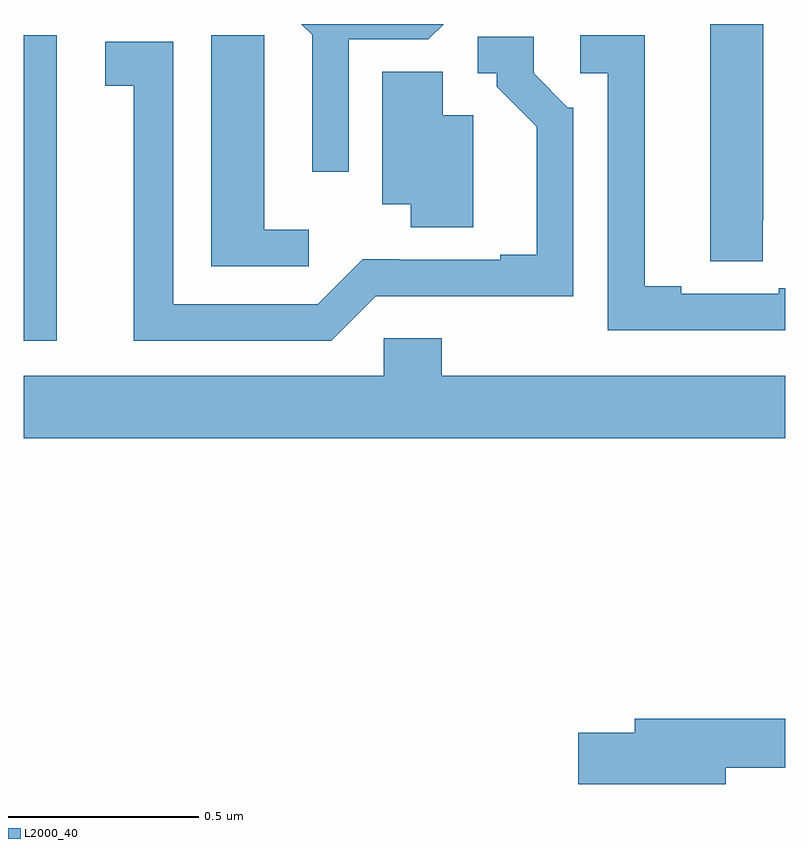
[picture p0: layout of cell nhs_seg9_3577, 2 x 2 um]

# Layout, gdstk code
import gdstk
lib = gdstk.Library(unit=1e-6, precision=1e-09)
def R(c, l, rs):  # rectangles x0, y0, x1, y1
    for r in rs: c.add(gdstk.rectangle(r[:2], r[2:], *l))
def P(c, l, *ps):  # polygons
    for p in ps: c.add(gdstk.Polygon(p, *l))
L2000_40 = (2000, 40)

nhs_seg9_3577 = lib.new_cell('nhs_seg9_3577')
R(nhs_seg9_3577, L2000_40, [(155,1204.668,155.086,1205.47)])
P(nhs_seg9_3577, L2000_40, [(155.853,1205.46),(156.063,1205.46),(156.103,1205.5),(155.729,1205.5),(155.757,1205.472),(155.757,1205.112),(155.853,1205.112)],
  [(156.942,1204.984),(156.943,1204.984),(156.943,1205.5),(156.803,1205.5),(156.803,1204.876),(156.942,1204.876)],
  [(157,1204.806),(156.983,1204.806),(156.983,1204.791),(156.727,1204.791),(156.727,1204.811),(156.631,1204.811),(156.631,1205.471),(156.462,1205.471),(156.462,1205.37),(156.534,1205.37),(156.534,1204.695),(157,1204.695)],
  [(155.749,1204.96),(155.632,1204.96),(155.632,1205.363),(155.631,1205.363),(155.631,1205.471),(155.492,1205.471),(155.492,1204.863),(155.749,1204.863)],
  [(155.925,1204.785),(156.181,1204.785),(156.181,1204.784),(156.444,1204.784),(156.444,1205.28),(156.429,1205.28),(156.339,1205.37),(156.339,1205.466),(156.192,1205.466),(156.192,1205.37),(156.242,1205.37),(156.242,1205.335),(156.347,1205.23),(156.347,1204.894),(156.251,1204.894),(156.251,1204.881),(155.986,1204.881),(155.986,1204.882),(155.89,1204.882),(155.772,1204.764),(155.392,1204.764),(155.392,1205.454),(155.214,1205.454),(155.214,1205.338),(155.288,1205.338),(155.288,1204.668),(155.808,1204.668)],
  [(156.181,1205.26),(156.1,1205.26),(156.1,1205.375),(155.942,1205.375),(155.942,1205.027),(156.017,1205.027),(156.017,1204.966),(156.181,1204.966)],
  [(157,1204.576),(156.098,1204.576),(156.098,1204.674),(155.946,1204.674),(155.946,1204.576),(155,1204.576),(155,1204.412),(157,1204.412)],
  [(156.844,1203.546),(157,1203.546),(157,1203.674),(156.605,1203.674),(156.605,1203.638),(156.456,1203.638),(156.456,1203.503),(156.844,1203.503)])

lib.write_gds('nhs_seg9_3577.gds')
